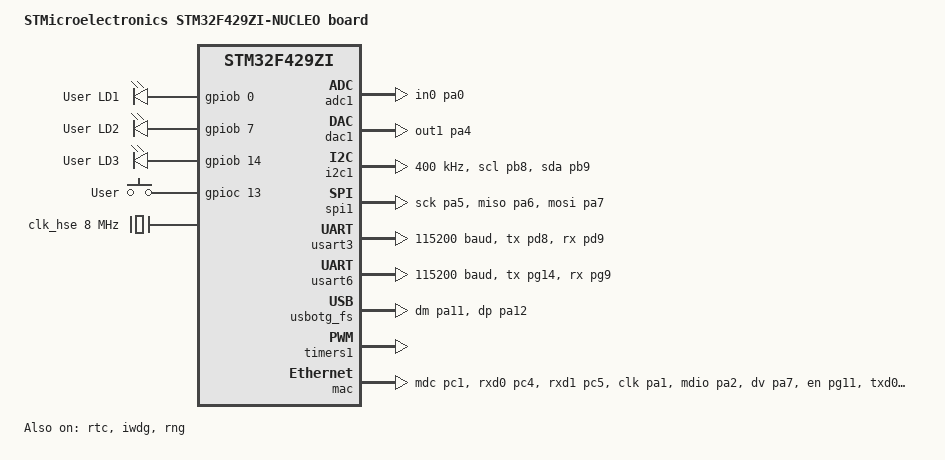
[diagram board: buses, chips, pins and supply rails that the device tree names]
/*
 * Copyright (c) 2017 Linaro Limited
 *
 * SPDX-License-Identifier: Apache-2.0
 */

/dts-v1/;
#include <st/f4/stm32f429Xi.dtsi>
#include <st/f4/stm32f429zitx-pinctrl.dtsi>
#include "arduino_r3_connector.dtsi"

/ {
	model = "STMicroelectronics STM32F429ZI-NUCLEO board";
	compatible = "st,stm32f429zi-nucleo";

	chosen {
		zephyr,console = &usart3;
		zephyr,shell-uart = &usart3;
		zephyr,sram = &sram0;
		zephyr,flash = &flash0;
		zephyr,ccm = &ccm0;
		zephyr,code-partition = &slot0_partition;
	};

	leds {
		compatible = "gpio-leds";
		green_led_1: led_1 {
			gpios = <&gpiob 0 GPIO_ACTIVE_HIGH>;
			label = "User LD1";
		};
		blue_led_1: led_2 {
			gpios = <&gpiob 7 GPIO_ACTIVE_HIGH>;
			label = "User LD2";
		};
		red_led_1: led_3 {
			gpios = <&gpiob 14 GPIO_ACTIVE_HIGH>;
			label = "User LD3";
		};
	};

	gpio_keys {
		compatible = "gpio-keys";
		user_button: button {
			label = "User";
			gpios = <&gpioc 13 GPIO_ACTIVE_HIGH>;
		};
	};

	aliases {
		led0 = &green_led_1;
		led1 = &blue_led_1;
		led2 = &red_led_1;
		sw0 = &user_button;
		watchdog0 = &iwdg;
	};
};

&clk_hse {
	hse-bypass;
	clock-frequency = <DT_FREQ_M(8)>; /* STLink 8MHz clock */
	status = "okay";
};

&pll {
	div-m = <8>;
	mul-n = <336>;
	div-p = <2>;
	div-q = <7>;
	clocks = <&clk_hse>;
	status = "okay";
};

&rcc {
	clocks = <&pll>;
	clock-frequency = <DT_FREQ_M(168)>; /* highest value to get a precise USB clock */
	ahb-prescaler = <1>;
	apb1-prescaler = <4>;
	apb2-prescaler = <2>;
};

&adc1 {
	pinctrl-0 = <&adc1_in0_pa0>;
	pinctrl-names = "default";
	status = "okay";
};

&dac1 {
	status = "okay";
	pinctrl-0 = <&dac_out1_pa4>;
	pinctrl-names = "default";
};

&i2c1 {
	pinctrl-0 = <&i2c1_scl_pb8 &i2c1_sda_pb9>;
	pinctrl-names = "default";
	status = "okay";
	clock-frequency = <I2C_BITRATE_FAST>;
};

&spi1 {
	pinctrl-0 = <&spi1_sck_pa5 &spi1_miso_pa6 &spi1_mosi_pa7>;
	pinctrl-names = "default";
	cs-gpios = <&gpiod 14 (GPIO_ACTIVE_LOW | GPIO_PULL_UP)>;
	status = "okay";
};

&usart3 {
	pinctrl-0 = <&usart3_tx_pd8 &usart3_rx_pd9>;
	pinctrl-names = "default";
	current-speed = <115200>;
	status = "okay";
};
&usart6 {
	pinctrl-0 = <&usart6_tx_pg14 &usart6_rx_pg9>;
	pinctrl-names = "default";
	current-speed = <115200>;
	status = "okay";
};

zephyr_udc0: &usbotg_fs {
	pinctrl-0 = <&usb_otg_fs_dm_pa11 &usb_otg_fs_dp_pa12>;
	pinctrl-names = "default";
	status = "okay";
};

&timers1 {
	st,prescaler = <10000>;
	status = "okay";

	pwm1: pwm {
		status = "okay";
		pinctrl-0 = <&tim1_ch3_pe13>;
		pinctrl-names = "default";
	};
};

&rtc {
	status = "okay";
};

&iwdg {
	status = "okay";
};

&rng {
	status = "okay";
};

&dma2 {
	status = "okay";
};

&mac {
	status = "okay";
	pinctrl-0 = <&eth_mdc_pc1
		     &eth_rxd0_pc4
		     &eth_rxd1_pc5
		     &eth_ref_clk_pa1
		     &eth_mdio_pa2
		     &eth_crs_dv_pa7
		     &eth_tx_en_pg11
		     &eth_txd0_pg13
		     &eth_txd1_pb13>;
	pinctrl-names = "default";
};

&flash0 {
	partitions {
		compatible = "fixed-partitions";
		#address-cells = <1>;
		#size-cells = <1>;

		/* 64KB for bootloader */
		boot_partition: partition@0 {
			label = "mcuboot";
			reg = <0x00000000 DT_SIZE_K(64)>;
			read-only;
		};

		/* storage: 64KB for settings */
		storage_partition: partition@10000 {
			label = "storage";
			reg = <0x00010000 DT_SIZE_K(64)>;
		};

		/* application image slot: 256KB */
		slot0_partition: partition@20000 {
			label = "image-0";
			reg = <0x00020000 DT_SIZE_K(256)>;
		};

		/* backup slot: 256KB */
		slot1_partition: partition@60000 {
			label = "image-1";
			reg = <0x00060000 DT_SIZE_K(256)>;
		};

		/* swap slot: 128KB */
		scratch_partition: partition@a0000 {
			label = "image-scratch";
			reg = <0x000a0000 DT_SIZE_K(128)>;
		};

	};
};
